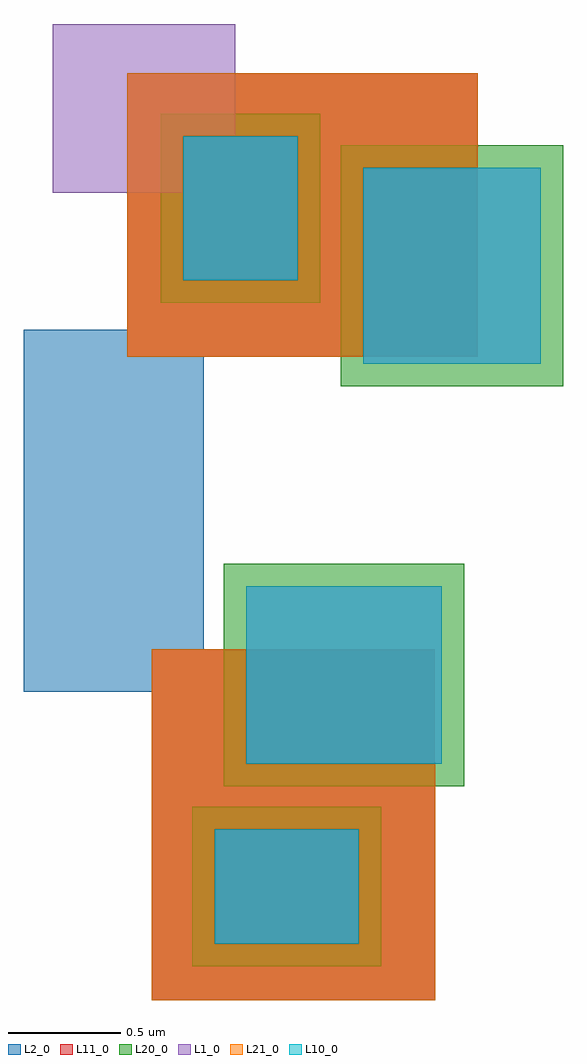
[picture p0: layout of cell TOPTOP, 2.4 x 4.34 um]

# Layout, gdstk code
from math import pi, radians
import gdstk
lib = gdstk.Library(unit=1e-6, precision=1e-09)
def R(c, l, rs):  # rectangles x0, y0, x1, y1
    for r in rs: c.add(gdstk.rectangle(r[:2], r[2:], *l))
def P(c, l, *ps):  # polygons
    for p in ps: c.add(gdstk.Polygon(p, *l))
L1_0 = (1, 0)
L2_0 = (2, 0)
L10_0 = (10, 0)
L11_0 = (11, 0)
L20_0 = (20, 0)
L21_0 = (21, 0)

c_a = lib.new_cell('A')
R(c_a, L1_0, [(0,0,0.64,0.51)])
R(c_a, L10_0, [(0,0,0.64,0.51)])
R(c_a, L20_0, [(-0.1,-0.1,0.74,0.61)])

top = lib.new_cell('TOP')
R(top, L1_0, [(0.19,0.2,1.06,0.99)])
R(top, L2_0, [(0.22,0.48,1.48,2.04)])
R(top, L10_0, [(0.19,0.2,1.06,0.99)])
R(top, L11_0, [(0.22,0.48,1.48,2.04)])
R(top, L20_0, [(0.09,0.1,1.16,1.09)])
P(top, L21_0, [(1.06,0.48),(1.06,0.99),(0.22,0.99),(0.22,1.79),(0.56,1.79),(0.56,1.28),(1.2,1.28),(1.2,1.79),(0.22,1.79),(0.22,2.04),(1.48,2.04),(1.48,0.48)])
top.add(gdstk.Reference(c_a, (0.56,1.28)))

toptop = lib.new_cell('TOPTOP')
R(toptop, L1_0, [(-0.07,1.21,0.74,1.96)])
R(toptop, L2_0, [(-0.2,-1.01,0.6,0.6)])
toptop.add(gdstk.Reference(top, (2.3,0.26), rotation=pi/2))
toptop.add(gdstk.Reference(top, (1.85,-0.34), rotation=pi))

lib.write_gds('TOPTOP.gds')
